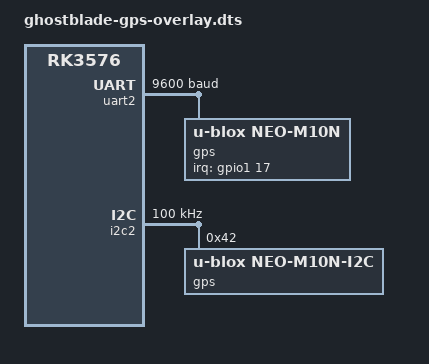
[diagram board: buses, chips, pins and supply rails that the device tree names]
// SPDX-License-Identifier: (GPL-2.0+ OR MIT)
/*
 * Device Tree Overlay — GhostBlade GPS (u-blox NEO-M10N)
 * Project NullSpectre
 *
 * This overlay enables the optional u-blox NEO-M10N GPS receiver
 * connected to UART2 and I2C2 on the RK3576. The GPS module provides
 * NMEA 0183 sentences at 9600 baud (configurable up to 115200) and
 * a 1PPS output for precise time synchronization.
 *
 * Usage:
 *   dtc -I dts -O dtb -@ -o ghostblade-gps-overlay.dtbo ghostblade-gps-overlay.dts
 *   sudo mkdir -p /sys/kernel/config/device-tree/overlays/gps
 *   sudo cp ghostblade-gps-overlay.dtbo /sys/kernel/config/device-tree/overlays/gps/dtbo
 *
 * To remove:
 *   sudo rmdir /sys/kernel/config/device-tree/overlays/gps
 */

/dts-v1/;
/plugin/;

#include <dt-bindings/gpio/gpio.h>
#include <dt-bindings/interrupt-controller/irq.h>

/ {
	compatible = "ghostblade,nullspectre", "rockchip,rk3576";

	/*
	 * Fragment 0: Enable UART2 for GPS NMEA data
	 */
	fragment@0 {
		target = <&uart2>;

		__overlay__ {
			status = "okay";
			current-speed = <9600>; /* NEO-M10N default baud */

			gps: gps-neo-m10n {
				compatible = "u-blox,neo-m10n";
				current-speed = <9600>;
				/*
				 * 1PPS output on GPIO1_C2 (active-high, 100ms pulse)
				 * Used for precise time synchronization.
				 */
				pinctrl-0 = <&gps_pps_pin>;
				pinctrl-names = "default";
				interrupt-parent = <&gpio1>;
				interrupts = <17 IRQ_TYPE_EDGE_RISING>; /* GPIO1_C2 */
				u-blox,pps-width-us = <100000>;
			};
		};
	};

	/*
	 * Fragment 1: Enable I2C2 for GPS configuration interface
	 * The NEO-M10N exposes an I2C slave at address 0x42 for
	 * configuration and aid data transfer.
	 */
	fragment@1 {
		target = <&i2c2>;

		__overlay__ {
			status = "okay";
			clock-frequency = <100000>;

			gps-i2c: gps@42 {
				compatible = "u-blox,neo-m10n-i2c";
				reg = <0x42>;
			};
		};
	};

	/*
	 * Fragment 2: Add GPS 1PPS pinctrl entry
	 */
	fragment@2 {
		target = <&pinctrl>;

		__overlay__ {
			gps_pps_pin: gps-pps-pin {
				pins = "GPIO1_C2"; /* 1PPS input */
				function = "gpio";
				input-enable;
				bias-pull-down;
				drive-strength = <2>;
			};
		};
	};
};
